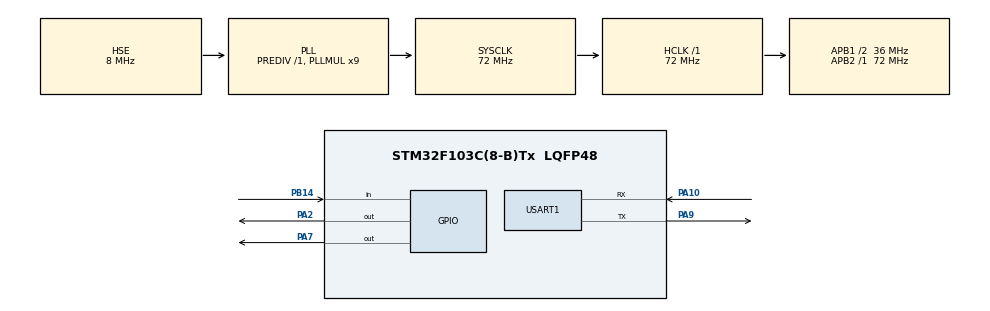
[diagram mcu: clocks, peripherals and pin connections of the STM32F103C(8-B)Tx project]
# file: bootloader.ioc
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Mcu.Family=STM32F1
Mcu.Name=STM32F103C(8-B)Tx
Mcu.Package=LQFP48
NVIC.PriorityGroup=NVIC_PRIORITYGROUP_4
NVIC.TIM4_IRQn=true\:0\:0\:false\:false\:true\:true\:true\:true
NVIC.USART1_IRQn=true\:0\:0\:false\:false\:true\:true\:true\:true
PA10.Mode=Asynchronous
PA10.Signal=USART1_RX
PA13.Mode=Serial_Wire
PA13.Signal=SYS_JTMS-SWDIO
PA14.Mode=Serial_Wire
PA14.Signal=SYS_JTCK-SWCLK
PA2.GPIO_PuPd=GPIO_PULLUP
PA2.Signal=GPIO_Output
PA7.GPIO_PuPd=GPIO_PULLUP
PA7.PinState=GPIO_PIN_SET
PA7.Signal=GPIO_Output
PA9.Mode=Asynchronous
PA9.Signal=USART1_TX
PB14.Signal=GPIO_Input
PD0-OSC_IN.Mode=HSE-External-Oscillator
PD0-OSC_IN.Signal=RCC_OSC_IN
PD1-OSC_OUT.Mode=HSE-External-Oscillator
PD1-OSC_OUT.Signal=RCC_OSC_OUT
ProjectManager.HeapSize=0x200
ProjectManager.StackSize=0x400
ProjectManager.TargetToolchain=MDK-ARM V5.32
RCC.AHBFreq_Value=72000000
RCC.APB1CLKDivider=RCC_HCLK_DIV2
RCC.APB1Freq_Value=36000000
RCC.APB1TimFreq_Value=72000000
RCC.APB2Freq_Value=72000000
RCC.APB2TimFreq_Value=72000000
RCC.HCLKFreq_Value=72000000
RCC.PLLMUL=RCC_PLL_MUL9
RCC.PLLSourceVirtual=RCC_PLLSOURCE_HSE
RCC.SYSCLKFreq_VALUE=72000000
RCC.SYSCLKSource=RCC_SYSCLKSOURCE_PLLCLK
RCC.USBFreq_Value=72000000
TIM4.AutoReloadPreload=TIM_AUTORELOAD_PRELOAD_ENABLE
TIM4.Period=10000-1
TIM4.Prescaler=36-1
USART1.VirtualMode=VM_ASYNC
VP_TIM4_VS_ClockSourceINT.Mode=Internal
board=custom

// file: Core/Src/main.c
/* USER CODE BEGIN Header */
/**
  ******************************************************************************
  * @file           : main.c
  * @brief          : Main program body
  ******************************************************************************
  * @attention
  *
  * Copyright (c) 2026 STMicroelectronics.
  * All rights reserved.
  *
  * This software is licensed under terms that can be found in the LICENSE file
  * in the root directory of this software component.
  * If no LICENSE file comes with this software, it is provided AS-IS.
  *
  ******************************************************************************
  */
/* USER CODE END Header */
#include "main.h"
#include "tim.h"
#include "usart.h"
#include "gpio.h"

/* USER CODE BEGIN Includes */
#include "bootloader.h"
#include "bootloader_uart.h"
#include "wifi.h"
/* USER CODE END Includes */

/* USER CODE BEGIN PV */
uint8_t temp_wifi_uart_rx_buf[256];  /* 串口接收缓冲�?? */
uint8_t enter_iap = 0;  /* 进入IAP模式标志 */
uint16_t get_wifi_count = 0;
uint16_t get_wifi_count_2 = 0;
uint16_t get_wifi_count_pre = 100;
uint8_t AppValid_Flag = 1;  //app段是否有数据 1�?0没有
uint32_t reset_key_count = 0;
uint8_t reset_flag = 0;
/* USER CODE END PV */

void SystemClock_Config(void);

int main(void)
{

  /* MCU Configuration--------------------------------------------------------*/

  /* Reset of all peripherals, Initializes the Flash interface and the Systick. */
  HAL_Init();

  /* Configure the system clock */
  SystemClock_Config();

  /* Initialize all configured peripherals */
  MX_GPIO_Init();
  MX_USART1_UART_Init();
  MX_TIM4_Init();
  /* USER CODE BEGIN 2 */
  /* 初始化Bootloader */
  Bootloader_Init();
   HAL_GPIO_WritePin(GPIOA, GPIO_PIN_2, GPIO_PIN_SET);
  /* 清空UART缓冲区，避免之前的数据干�??? */
  __HAL_UART_FLUSH_DRREGISTER(&huart1);
  __HAL_UART_CLEAR_FLAG(&huart1, UART_FLAG_RXNE);
  __HAL_UART_CLEAR_FLAG(&huart1, UART_FLAG_TC);
  HAL_UART_Receive_IT(&huart1, temp_wifi_uart_rx_buf, 1);  // 启动UART接收中断，数据由MCU_SDK处理
  /* 初始化串口IAP协议 */
  Bootloader_UART_Init(&huart1);

  /* 初始化wifi协议,必须在MCU初始化代码中调用该函�?? */
  wifi_protocol_init();
	HAL_TIM_Base_Start_IT(&htim4);
  /* 发�?�启动信�??? */
  // Bootloader_UART_SendString("\r\n");
  // Bootloader_UART_SendString("====================================\r\n");
  // Bootloader_UART_SendString("  STM32 IAP Bootloader v1.0.0\r\n");
  // Bootloader_UART_SendString("  MCU: STM32F103C8\r\n");
  // Bootloader_UART_SendString("====================================\r\n");

  /* ========== 判断是否进入IAP升级模式 ========== */
  //uint8_t enter_iap = 0;  /* 进入IAP模式标志 */
  /* 方式1: �???查是否有未完成的升级标志 */
  if (Bootloader_CheckUpdateFlag())
  {
      //Bootloader_UART_SendString("WARNING: Last update incomplete!\r\n");
      //Bootloader_ClearUpdateFlag();
      enter_iap = 1;
  }

  /* 方式2: �???查APP是否有效 */
  if (!enter_iap && !Bootloader_CheckAppValid())
  {
      //Bootloader_UART_SendString("Application invalid!\r\n");
			AppValid_Flag = 0;
      enter_iap = 1;
  }

  /* 方式3: GPIO按键触发（可选，�???要配置对应的GPIO�???*/
  /* 取消下面的注释来启用按键触发功能�???
   * 1. 在CubeMX中配置一个GPIO输入引脚（如PA0），设置为上拉输�???
   * 2. 修改下面的GPIO_Port和GPIO_Pin为实际配置的引脚
   * 3. 按住按键上电即可进入IAP模式
   */
  /*
  if (!enter_iap && HAL_GPIO_ReadPin(BOOT_KEY_GPIO_Port, BOOT_KEY_Pin) == GPIO_PIN_RESET)
  {
      Bootloader_UART_SendString("Button pressed, enter IAP mode...\r\n");
      enter_iap = 1;
  }
  */

  /* 方式4: */
  if (!enter_iap)
  {
      // Bootloader_UART_SendString("\r\n");
      // Bootloader_UART_SendString("Wait Firmware, or wait to run APP...\r\n");
      // Bootloader_UART_SendString("Waiting ");

      /* 等待2秒，等待是否收到升级命令 */
      uint32_t wait_time = 10000;  /* 等待时间（毫秒）*/
      uint32_t start_tick = HAL_GetTick();

      while ((HAL_GetTick() - start_tick) < wait_time)
      {
          /*阻塞等待�??启固件升级命�??*/
          wifi_uart_service();
          if(enter_iap) break;

          /* 每秒打印�??个点，指示等待状�?? */
//          static uint32_t last_dot = 0;
//          if (HAL_GetTick() - last_dot > 1000)
//          {
//              //Bootloader_UART_SendString(".");
//              last_dot = HAL_GetTick();
//          }
          ///HAL_Delay(10);
      }
      //Bootloader_UART_SendString("\r\n");
  }

  /* ========== 根据标志决定是进入IAP还是跳转APP ========== */
  if (enter_iap)
  {
      /* 进入IAP升级模式 */
      // Bootloader_UART_SendString("\r\n");
      // Bootloader_UART_SendString("==================================================\r\n");
      // Bootloader_UART_SendString("  Entering IAP Mode\r\n");
      // Bootloader_UART_SendString("==================================================\r\n");
      // Bootloader_UART_SendString("Waiting for firmware...\r\n");
      // Bootloader_UART_SendString("\r\n");
  }
  else
  {
      /* 跳转到应用程�??? */
      if (Bootloader_CheckAppValid())
      {
          /* 显示版本信息（如果有�???*/
//          if (Bootloader_IsAppVersionValid())
//          {
//              Firmware_VersionTypeDef app_version;
//              if (Bootloader_ReadAppVersion(&app_version) == IAP_SUCCESS)
//              {
//                  char version_str[64];
//                  snprintf(version_str, sizeof(version_str),
//                          "APP Version: %d.%d.%d\r\n",
//                          app_version.major, app_version.minor, app_version.patch);
//                  //Bootloader_UART_SendString(version_str);
//
//                  if (app_version.description[0] != '\0')
//                  {
//                      //Bootloader_UART_SendString("Description: ");
//                      //Bootloader_UART_SendString(app_version.description);
//                      //Bootloader_UART_SendString("\r\n");
//                  }
//              }
//          }

          //Bootloader_UART_SendString("Jumping to application...\r\n");
          //HAL_Delay(100);
          Bootloader_JumpToApp();

          /* 如果跳转失败，会继续执行到这�??? */
          //Bootloader_UART_SendString("ERROR: Jump to application failed!\r\n");
      }
      else
      {
          /* 理论上不会到这里，因为前面已经检查过�??? */
          //Bootloader_UART_SendString("ERROR: Application invalid!\r\n");
      }

      /* 跳转失败，进入IAP模式 */
      //Bootloader_UART_SendString("Enter IAP mode...\r\n");
  }
  /* USER CODE END 2 */

  /* Infinite loop */
  while (1)
  {

    /* USER CODE BEGIN 3 */
    /* 处理串口IAP协议 */
    /* 该函数会阻塞等待串口数据，超时后返回 */
    /* 支持的命令：
     * - IAP_CMD_GET_INFO      (0xA4): 获取Bootloader信息
     * - IAP_CMD_START_UPDATE  (0xA5): �???始升�???
     * - IAP_CMD_WRITE         (0xA1): 写入固件数据
     * - IAP_CMD_END_UPDATE    (0xA6): 结束升级
     * - IAP_CMD_VERIFY        (0xA7): 校验固件
     * - IAP_CMD_JUMP          (0xA3): 跳转到应用程�???
     */
	//(mcu_get_wifi_work_state()==WIFI_LOW_POWER)
    wifi_uart_service();

    // wifi重置
    if(reset_flag){
			if(reset_wifi_flag)
			{
					reset_flag = 0;
			}else{
				// 重置wifi
				mcu_reset_wifi();
			}
    }
//   if((get_wifi_count%get_wifi_count_pre==0)&&(mcu_get_wifi_work_state()!=WIFI_CONN_CLOUD)&& AppValid_Flag == 0){
//		 get_wifi_count_2++;
//		 if(get_wifi_count_2 > 100){
//			 get_wifi_count = 0;
//			 get_wifi_count_2 = 0;
//			 mcu_reset_wifi();
//       //mcu_set_wifi_mode(SMART_CONFIG);
//		 }
//   }
    //Bootloader_UART_Process();

    /* LED闪烁指示Bootloader运行状�?�（可�?�） */
    /* 取消注释下面的代码来启用LED指示�???
    static uint32_t led_tick = 0;
    if (HAL_GetTick() - led_tick > 500)
    {
        HAL_GPIO_TogglePin(LED_GPIO_Port, LED_Pin);
        led_tick = HAL_GetTick();
    }
    */
  }
  /* USER CODE END 3 */
}

void SystemClock_Config(void)
{
  RCC_OscInitTypeDef RCC_OscInitStruct = {0};
  RCC_ClkInitTypeDef RCC_ClkInitStruct = {0};

  /** Initializes the RCC Oscillators according to the specified parameters
  * in the RCC_OscInitTypeDef structure.
  */
  RCC_OscInitStruct.OscillatorType = RCC_OSCILLATORTYPE_HSE;
  RCC_OscInitStruct.HSEState = RCC_HSE_ON;
  RCC_OscInitStruct.HSEPredivValue = RCC_HSE_PREDIV_DIV1;
  RCC_OscInitStruct.HSIState = RCC_HSI_ON;
  RCC_OscInitStruct.PLL.PLLState = RCC_PLL_ON;
  RCC_OscInitStruct.PLL.PLLSource = RCC_PLLSOURCE_HSE;
  RCC_OscInitStruct.PLL.PLLMUL = RCC_PLL_MUL9;
  if (HAL_RCC_OscConfig(&RCC_OscInitStruct) != HAL_OK)
  {
    Error_Handler();
  }

  /** Initializes the CPU, AHB and APB buses clocks
  */
  RCC_ClkInitStruct.ClockType = RCC_CLOCKTYPE_HCLK|RCC_CLOCKTYPE_SYSCLK
                              |RCC_CLOCKTYPE_PCLK1|RCC_CLOCKTYPE_PCLK2;
  RCC_ClkInitStruct.SYSCLKSource = RCC_SYSCLKSOURCE_PLLCLK;
  RCC_ClkInitStruct.AHBCLKDivider = RCC_SYSCLK_DIV1;
  RCC_ClkInitStruct.APB1CLKDivider = RCC_HCLK_DIV2;
  RCC_ClkInitStruct.APB2CLKDivider = RCC_HCLK_DIV1;

  if (HAL_RCC_ClockConfig(&RCC_ClkInitStruct, FLASH_LATENCY_2) != HAL_OK)
  {
    Error_Handler();
  }
}

/* USER CODE BEGIN 4 */
void HAL_UART_RxCpltCallback(UART_HandleTypeDef *huart)
{
  if (huart->Instance == USART1)
  {
	  HAL_UART_IRQHandler(&huart1);
    uart_receive_input(temp_wifi_uart_rx_buf[0]);  // 将接收到的数据传递给MCU_SDK处理
    HAL_UART_Receive_IT(&huart1,temp_wifi_uart_rx_buf,1);
  }
}

// 200hz
void HAL_TIM_PeriodElapsedCallback(TIM_HandleTypeDef *htim)
{
    if (htim == (&htim4))
    {
			// 重置按键检测
			if(HAL_GPIO_ReadPin(GPIOB,GPIO_PIN_14) == GPIO_PIN_SET && reset_flag == 0){
				reset_key_count++;
			}if(reset_key_count>1000){
				reset_key_count = 0;
				reset_flag = 1;
			}
		}
}

/* USER CODE END 4 */

void Error_Handler(void)
{
  __disable_irq();
  while (1)
  {
  }
}
